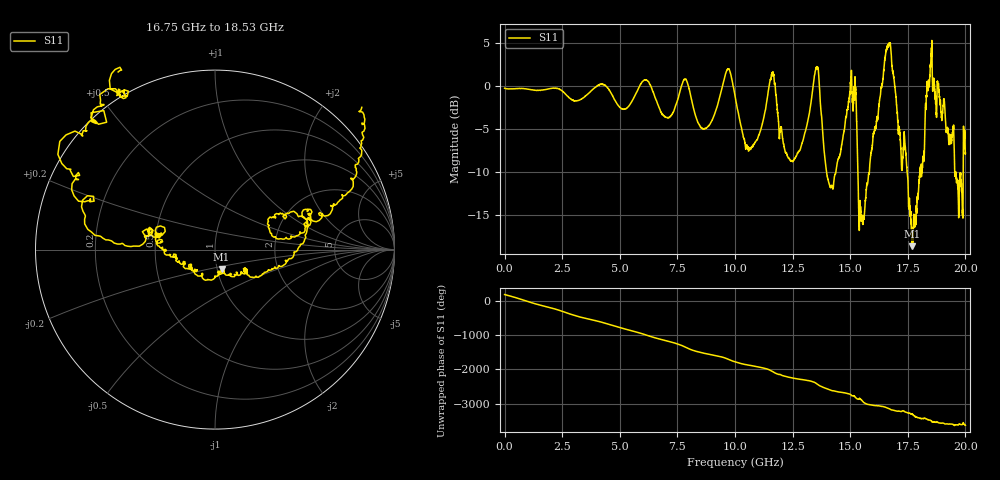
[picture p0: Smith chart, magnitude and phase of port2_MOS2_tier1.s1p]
! Created with skrf 1.8.0 (http://scikit-rf.org).
# GHz S RI R 50.0
!freq ReS11 ImS11
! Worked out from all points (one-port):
!   10001 points, 1 MHz to 20 GHz, reference 50 ohm
!   lowest |S11| = -18.7 dB at 17.69 GHz (marker M1), VSWR 1.26, Z = 52.4 - j11.8 ohm
!   |S11| at or under -10 dB: 13.97 GHz to 14.38 GHz (409 MHz wide, 2.89 % of centre); 15.34 GHz to 15.83 GHz (496.5 MHz wide, 3.19 % of centre); 17.47 GHz to 18.02 GHz (547.2 MHz wide, 3.08 % of centre) (the widest 3 of 8)
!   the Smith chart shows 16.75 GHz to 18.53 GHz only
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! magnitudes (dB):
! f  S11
! 1 MHz  -0.3
! 2.501 GHz  -0.6
! 5.001 GHz  -2.5
! 6.099 GHz  0.7
! 6.975 GHz  -3.7
! 7.501 GHz  -1.8
! 7.867 GHz  0.7
! 8.673 GHz  -5.0
! 9.671 GHz  1.9
! 10 GHz  -1.2
! 10.66 GHz  -7.3
! 11.64 GHz  1.1
! 12.5 GHz  -8.8
! 13.54 GHz  2.1
! 13.95 GHz  -9.5
! 14.2 GHz  -11.6
! 15 GHz  -0.2
! 15.23 GHz  -0.6
! 15.47 GHz  -15.7
! 16.66 GHz  4.5
! 17.5 GHz  -10.7
! 17.69 GHz  -18.7
! 18.13 GHz  -9.5
! 18.47 GHz  1.6
! 19.42 GHz  -6.0
! 19.64 GHz  -11.0
! 19.8 GHz  -10.8
! 20 GHz  -7.8
